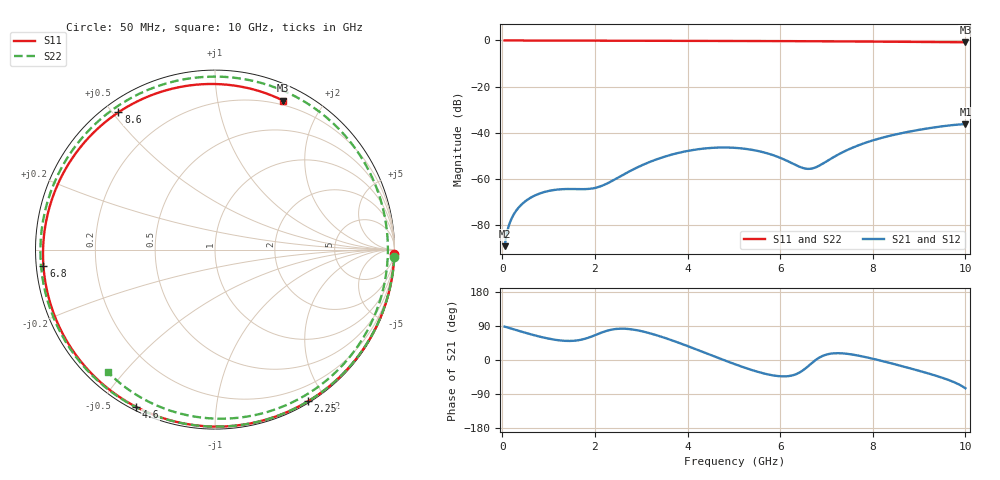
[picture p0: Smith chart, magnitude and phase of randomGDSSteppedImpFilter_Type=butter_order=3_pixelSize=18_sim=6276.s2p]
! freq	dB(S11)	phase(S11)	dB(S12)	phase(S12)
!  dB(S21)	phase(S21)	dB(S22)	phase(S22)
!S-par simulation data
#  GHz  S  DB  R 50
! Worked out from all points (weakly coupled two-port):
!   200 points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, 50 MHz to 10 GHz, reference 50 ohm
!   highest |S21| = -36.27 dB at 10 GHz (marker M1); lowest = -89.2 dB at 50 MHz (marker M2)
!   lowest |S11| = -0.8 dB at 10 GHz (marker M3), VSWR 22.00, Z = 7.74 + j77.3 ohm
!   |S11| at or under -10 dB: nowhere
!   |S22| runs from -0.9 to 0.0 dB; largest |S21 - S12| = 0
!   S11 on the Smith chart (normalised r, x): 50 MHz: 0, -86; 2.25 GHz: 0.02, -1.79; 4.6 GHz: 0.01, -0.62; 6.8 GHz: 0.02, -0.05; 8.6 GHz: 0.04, +0.52; 10 GHz: 0.15, +1.55
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0.05  -0.00 -1.3  -89.17 88.1  -89.17 88.1  -0.00 -2.5
0.15  -0.01 -4.0  -79.66 84.4  -79.66 84.4  -0.01 -7.4
0.4  -0.02 -10.6  -71.41 75.3  -71.41 75.3  -0.03 -19.6
0.7  -0.02 -18.5  -67.23 65.0  -67.23 65.0  -0.05 -34.3
1.25  -0.04 -32.8  -64.52 51.6  -64.52 51.6  -0.08 -61.5
1.75  -0.06 -45.7  -64.45 54.8  -64.45 54.8  -0.11 -86.7
2.25  -0.07 -58.4  -62.13 76.8  -62.13 76.8  -0.15 -112.6
2.9  -0.10 -74.7  -55.18 78.8  -55.18 78.8  -0.20 -148.2
3.4  -0.12 -87.1  -51.06 62.7  -51.06 62.7  -0.24 -177.5
3.95  -0.14 -100.6  -48.09 39.1  -48.09 39.1  -0.28 148.3
4.6  -0.17 -116.6  -46.48 8.5  -46.48 8.5  -0.31 106.3
5.05  -0.20 -127.8  -46.58 -12.3  -46.58 -12.3  -0.32 77.5
5.45  -0.23 -138.0  -47.62 -28.8  -47.62 -28.8  -0.32 53.0
5.85  -0.26 -148.4  -49.73 -40.7  -49.73 -40.7  -0.32 30.1
6.25  -0.30 -159.1  -53.15 -41.0  -53.15 -41.0  -0.32 9.0
6.7  -0.34 -171.7  -55.45 -6.4  -55.45 -6.4  -0.33 -12.4
6.8  -0.35 -174.6  -54.71 2.9  -54.71 2.9  -0.33 -16.9
7.55  -0.44 162.4  -46.59 14.6  -46.59 14.6  -0.37 -47.4
8.35  -0.55 134.6  -41.41 -7.2  -41.41 -7.2  -0.46 -75.7
8.6  -0.58 125.1  -40.27 -15.2  -40.27 -15.2  -0.49 -84.0
9.35  -0.69 94.4  -37.62 -41.0  -37.62 -41.0  -0.64 -108.5
10  -0.79 65.4  -36.27 -74.6  -36.27 -74.6  -0.85 -131.1
